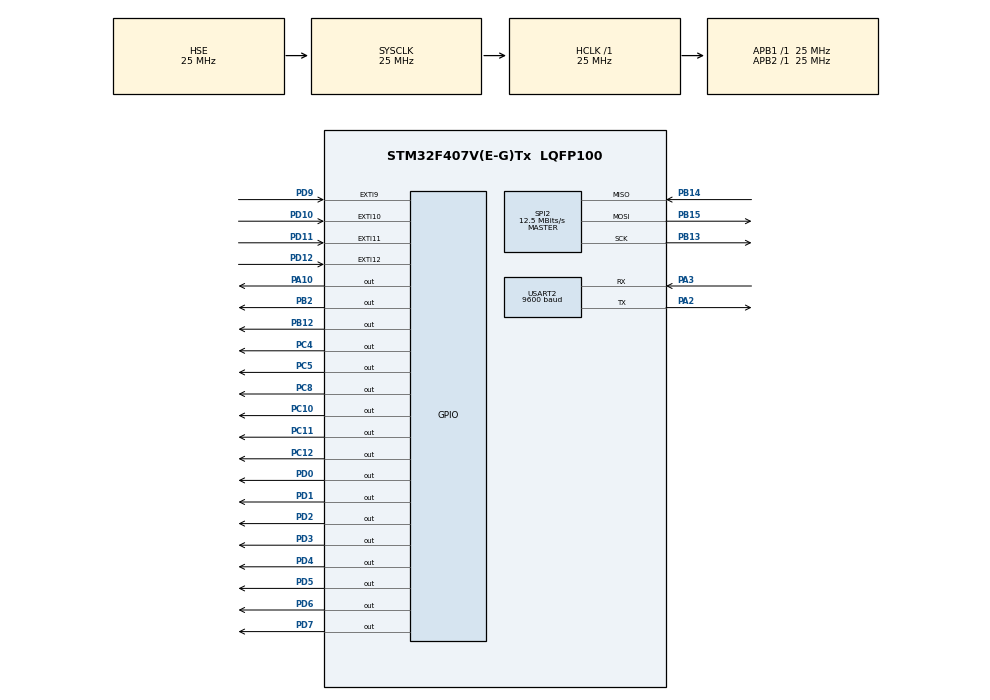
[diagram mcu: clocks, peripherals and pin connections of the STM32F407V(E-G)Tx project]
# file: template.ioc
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Mcu.Family=STM32F4
Mcu.Name=STM32F407V(E-G)Tx
Mcu.Package=LQFP100
NVIC.EXTI15_10_IRQn=true\:0\:0\:false\:false\:true\:true\:true\:true
NVIC.EXTI9_5_IRQn=true\:0\:0\:false\:false\:true\:true\:true\:true
NVIC.PriorityGroup=NVIC_PRIORITYGROUP_4
PA10.Signal=GPIO_Output
PA2.Mode=Asynchronous
PA2.Signal=USART2_TX
PA3.Mode=Asynchronous
PA3.Signal=USART2_RX
PB12.GPIO_Speed=GPIO_SPEED_FREQ_HIGH
PB12.Signal=GPIO_Output
PB13.Mode=Full_Duplex_Master
PB13.Signal=SPI2_SCK
PB14.Mode=Full_Duplex_Master
PB14.Signal=SPI2_MISO
PB15.Mode=Full_Duplex_Master
PB15.Signal=SPI2_MOSI
PB2.GPIO_Speed=GPIO_SPEED_FREQ_HIGH
PB2.Signal=GPIO_Output
PC10.Signal=GPIO_Output
PC11.Signal=GPIO_Output
PC12.Signal=GPIO_Output
PC4.GPIO_Speed=GPIO_SPEED_FREQ_HIGH
PC4.Signal=GPIO_Output
PC5.GPIO_Speed=GPIO_SPEED_FREQ_HIGH
PC5.Signal=GPIO_Output
PC8.Signal=GPIO_Output
PD0.Signal=GPIO_Output
PD1.Signal=GPIO_Output
PD10.GPIO_PuPd=GPIO_PULLUP
PD10.Signal=GPXTI10
PD11.GPIO_PuPd=GPIO_PULLUP
PD11.Signal=GPXTI11
PD12.GPIO_PuPd=GPIO_PULLUP
PD12.Signal=GPXTI12
PD2.Signal=GPIO_Output
PD3.Signal=GPIO_Output
PD4.Signal=GPIO_Output
PD5.Signal=GPIO_Output
PD6.Signal=GPIO_Output
PD7.Signal=GPIO_Output
PD9.GPIO_PuPd=GPIO_PULLUP
PD9.Signal=GPXTI9
PH0-OSC_IN.Mode=HSE-External-Oscillator
PH0-OSC_IN.Signal=RCC_OSC_IN
PH1-OSC_OUT.Mode=HSE-External-Oscillator
PH1-OSC_OUT.Signal=RCC_OSC_OUT
ProjectManager.HeapSize=0x200
ProjectManager.StackSize=0x400
ProjectManager.TargetToolchain=MDK-ARM V5.32
RCC.AHBFreq_Value=25000000
RCC.APB1Freq_Value=25000000
RCC.APB1TimFreq_Value=25000000
RCC.APB2Freq_Value=25000000
RCC.APB2TimFreq_Value=25000000
RCC.CortexFreq_Value=25000000
RCC.HCLKFreq_Value=25000000
RCC.HSE_VALUE=25000000
RCC.HSI_VALUE=16000000
RCC.LSE_VALUE=32768
RCC.SYSCLKFreq_VALUE=25000000
RCC.SYSCLKSource=RCC_SYSCLKSOURCE_HSE
RCC.VCOOutputFreq_Value=192000000
SPI2.CalculateBaudRate=12.5 MBits/s
SPI2.Direction=SPI_DIRECTION_2LINES
SPI2.Mode=SPI_MODE_MASTER
SPI2.VirtualType=VM_MASTER
USART2.BaudRate=9600
USART2.VirtualMode=VM_ASYNC
board=custom

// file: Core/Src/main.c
/* USER CODE BEGIN Header */
/**
  ******************************************************************************
  * @file           : main.c
  * @brief          : Main program body
  ******************************************************************************
  * @attention
  *
  * Copyright (c) 2023 STMicroelectronics.
  * All rights reserved.
  *
  * This software is licensed under terms that can be found in the LICENSE file
  * in the root directory of this software component.
  * If no LICENSE file comes with this software, it is provided AS-IS.
  *
  ******************************************************************************
  */
/* USER CODE END Header */
#include "main.h"
#include "spi.h"
#include "usart.h"
#include "gpio.h"

/* USER CODE BEGIN Includes */
#include "lcd.h"
#include "LCDAPI.h"
#include "tube.h"
/* USER CODE END Includes */

/* USER CODE BEGIN PD */
#define dist 10
/* USER CODE END PD */

/* USER CODE BEGIN PV */
char str1[8] = "voltage:";
/* USER CODE END PV */

void SystemClock_Config(void);

/* USER CODE BEGIN 0 */
void HAL_UART_RxCpltCallback(UART_HandleTypeDef *huart)
{
//	RxLine++;//每接收到一个数据，进入回调数据长度加一
//	DataBuff[RxLine-1]=RxBuff[0];//把每次接收到的数据保存到缓存数组
//	if(RxBuff[0]==0x0A)//判断标志位
//	{
//		Stop_Flag=1;
//	}
//	else//继续接收数据
//	{
//		RxBuff[0]=0;
//		HAL_UART_Receive_IT(&huart2,RxBuff,1);//继续接收下一个字符
//	}
}
/* USER CODE END 0 */

int main(void)
{

  /* MCU Configuration--------------------------------------------------------*/

  /* Reset of all peripherals, Initializes the Flash interface and the Systick. */
  HAL_Init();

  /* Configure the system clock */
  SystemClock_Config();

  /* Initialize all configured peripherals */
  MX_GPIO_Init();
  MX_SPI2_Init();
  MX_USART2_UART_Init();
  /* USER CODE BEGIN 2 */
	Lcd_Init();
	LCD_LED_SET;//通过IO控制背光
	LCD_RST_SET;
	Lcd_Clear(RED);

	Gui_DrawFont_GBK24(0,50,BLACK,WHITE,"XJTU Infomation");
	Gui_DrawFont_GBK24(0,80,BLACK,WHITE,"Single-Chip Experiment");
	Gui_DrawFont_GBK24(0,120,BLACK,WHITE,"Current Temperatur:");
	LCD_Showdecimal(170,120,10.0000,2,2,16);

	HAL_UART_Transmit(&huart2,"My name is xxx.",sizeof("My name is xxx."),HAL_MAX_DELAY);
  /* USER CODE END 2 */

  /* Infinite loop */
  while (1)
  {

  }
}

void SystemClock_Config(void)
{
  RCC_OscInitTypeDef RCC_OscInitStruct = {0};
  RCC_ClkInitTypeDef RCC_ClkInitStruct = {0};

  /** Configure the main internal regulator output voltage
  */
  __HAL_RCC_PWR_CLK_ENABLE();
  __HAL_PWR_VOLTAGESCALING_CONFIG(PWR_REGULATOR_VOLTAGE_SCALE1);

  /** Initializes the RCC Oscillators according to the specified parameters
  * in the RCC_OscInitTypeDef structure.
  */
  RCC_OscInitStruct.OscillatorType = RCC_OSCILLATORTYPE_HSE;
  RCC_OscInitStruct.HSEState = RCC_HSE_ON;
  RCC_OscInitStruct.PLL.PLLState = RCC_PLL_NONE;
  if (HAL_RCC_OscConfig(&RCC_OscInitStruct) != HAL_OK)
  {
    Error_Handler();
  }

  /** Initializes the CPU, AHB and APB buses clocks
  */
  RCC_ClkInitStruct.ClockType = RCC_CLOCKTYPE_HCLK|RCC_CLOCKTYPE_SYSCLK
                              |RCC_CLOCKTYPE_PCLK1|RCC_CLOCKTYPE_PCLK2;
  RCC_ClkInitStruct.SYSCLKSource = RCC_SYSCLKSOURCE_HSE;
  RCC_ClkInitStruct.AHBCLKDivider = RCC_SYSCLK_DIV1;
  RCC_ClkInitStruct.APB1CLKDivider = RCC_HCLK_DIV1;
  RCC_ClkInitStruct.APB2CLKDivider = RCC_HCLK_DIV1;

  if (HAL_RCC_ClockConfig(&RCC_ClkInitStruct, FLASH_LATENCY_0) != HAL_OK)
  {
    Error_Handler();
  }
}

void Error_Handler(void)
{
  __disable_irq();
  while (1)
  {
  }
}
